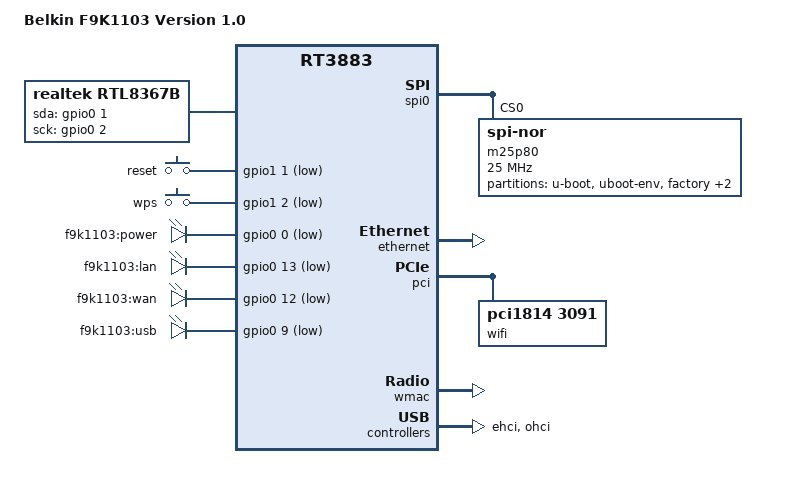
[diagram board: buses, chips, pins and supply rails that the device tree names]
/dts-v1/;

#include "rt3883.dtsi"

#include <dt-bindings/gpio/gpio.h>
#include <dt-bindings/input/input.h>

/ {
	compatible = "F9K1103", "ralink,rt3883-soc";
	model = "Belkin F9K1103 Version 1.0";

	rtl8367 {
		compatible = "realtek,rtl8367b";
		gpio-sda = <&gpio0 1 GPIO_ACTIVE_HIGH>;
		gpio-sck = <&gpio0 2 GPIO_ACTIVE_HIGH>;
		realtek,extif1 = <1 0 1 1 1 1 1 1 2>;
	};

	gpio-keys-polled {
		compatible = "gpio-keys-polled";
		#address-cells = <1>;
		#size-cells = <0>;
		poll-interval = <100>;

		/* Padavan BN750DB/F9K1103: absolute GPIO 25/26.
		 * rt3883.dtsi splits GPIO0=0..23 and GPIO1=24..39.
		 */
		reset {
			label = "reset";
			gpios = <&gpio1 1 GPIO_ACTIVE_LOW>;
			linux,code = <KEY_RESTART>;
		};

		wps {
			label = "wps";
			gpios = <&gpio1 2 GPIO_ACTIVE_LOW>;
			linux,code = <KEY_WPS_BUTTON>;
		};
	};

	gpio-leds {
		compatible = "gpio-leds";

		power {
			label = "f9k1103:power";
			gpios = <&gpio0 0 GPIO_ACTIVE_LOW>;
		};

		lan {
			label = "f9k1103:lan";
			gpios = <&gpio0 13 GPIO_ACTIVE_LOW>;
		};

		wan {
			label = "f9k1103:wan";
			gpios = <&gpio0 12 GPIO_ACTIVE_LOW>;
		};

		usb {
			label = "f9k1103:usb";
			gpios = <&gpio0 9 GPIO_ACTIVE_LOW>;
		};
	};
};

&gpio1 {
	status = "okay";
};

&pinctrl {
	state_default: pinctrl0 {
		gpio {
			ralink,group = "i2c", "jtag", "uartf";
			ralink,function = "gpio";
		};
	};
};

&spi0 {
	status = "okay";

	m25p80@0 {
		#address-cells = <1>;
		#size-cells = <1>;
		compatible = "jedec,spi-nor";
		reg = <0>;
		spi-max-frequency = <25000000>;

		partition@0 {
			label = "u-boot";
			reg = <0x000000 0x030000>;
			read-only;
		};

		partition@30000 {
			label = "uboot-env";
			reg = <0x030000 0x010000>;
			read-only;
		};

		factory: partition@40000 {
			label = "factory";
			reg = <0x040000 0x010000>;
			read-only;
		};

		partition@50000 {
			label = "firmware";
			reg = <0x050000 0x7a0000>;
		};

		partition@7f0000 {
			label = "user-cfg";
			reg = <0x7f0000 0x010000>;
			read-only;
		};
	};
};

&ethernet {
	status = "okay";

	port@0 {
		mediatek,fixed-link = <1000 1 1 1>;
		phy-mode = "rgmii";
	};
};

&pci {
	status = "okay";
	pinctrl-names = "default";
	pinctrl-0 = <&pci_pins>;

	pci_pins: pci {
		pci {
			ralink,group = "pci";
			ralink,function = "pci-fnc";
		};
	};

	host-bridge {
		pci-bridge@1 {
			status = "okay";

			wifi@1814,3091 {
				compatible = "pci1814,3091";
				reg = <0x10000 0 0 0 0>;
				ralink,5ghz = <0>;
				ralink,mtd-eeprom = <&factory 0x8000>;
			};
		};
	};
};

&wmac {
	status = "okay";
	ralink,2ghz = <0>;
	ralink,mtd-eeprom = <&factory 0x0>;
};

&ehci {
	status = "okay";
};

&ohci {
	status = "okay";
};
